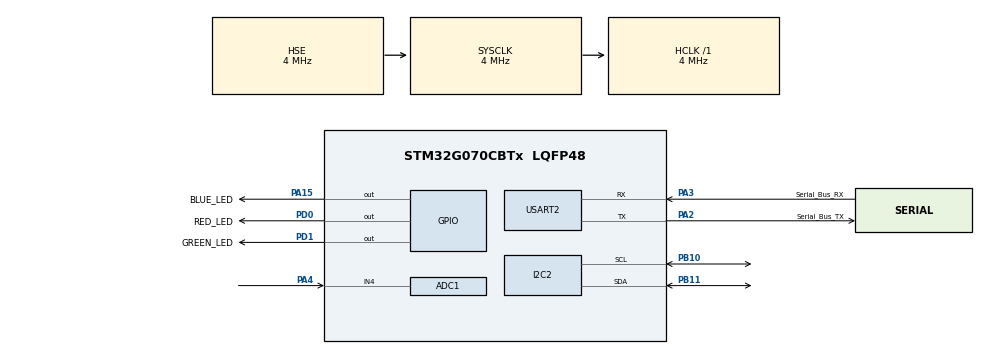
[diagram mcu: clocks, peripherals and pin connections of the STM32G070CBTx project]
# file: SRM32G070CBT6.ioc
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ADC1.Channel-1\#ChannelRegularConversion=ADC_CHANNEL_4
ADC1.ClockPrescaler=ADC_CLOCK_ASYNC_DIV2
ADC1.NbrOfConversionFlag=1
ADC1.Rank-1\#ChannelRegularConversion=1
ADC1.SamplingTime-1\#ChannelRegularConversion=ADC_SAMPLINGTIME_COMMON_1
ADC1.SamplingTimeCommon1=ADC_SAMPLETIME_39CYCLES_5
ADC1.SamplingTimeCommon2=ADC_SAMPLETIME_39CYCLES_5
ADC1.SelectedChannel=ADC_CHANNEL_4
ADC1.master=1
I2C2.Timing=0x00100D14
Mcu.Family=STM32G0
Mcu.Name=STM32G070CBTx
Mcu.Package=LQFP48
NVIC.ADC1_IRQn=true\:0\:0\:false\:false\:true\:true\:true\:true
NVIC.TIM1_BRK_UP_TRG_COM_IRQn=true\:0\:0\:false\:false\:true\:true\:true\:true
NVIC.TIM1_CC_IRQn=true\:0\:0\:false\:false\:true\:true\:true\:true
NVIC.USART2_IRQn=true\:0\:0\:false\:false\:true\:true\:true\:true
PA13.Mode=Serial_Wire
PA13.Signal=SYS_SWDIO
PA14-BOOT0.Mode=Serial_Wire
PA14-BOOT0.Signal=SYS_SWCLK
PA15.GPIO_Label=BLUE_LED
PA15.Signal=GPIO_Output
PA2.GPIO_Label=Serial_Bus_TX
PA2.Mode=Asynchronous
PA2.Signal=USART2_TX
PA3.GPIO_Label=Serial_Bus_RX
PA3.Mode=Asynchronous
PA3.Signal=USART2_RX
PA4.Mode=IN4
PA4.Signal=ADC1_IN4
PB10.Mode=I2C
PB10.Signal=I2C2_SCL
PB11.Mode=I2C
PB11.Signal=I2C2_SDA
PD0.GPIO_Label=RED_LED
PD0.Signal=GPIO_Output
PD1.GPIO_Label=GREEN_LED
PD1.Signal=GPIO_Output
PF0-OSC_IN\ (PF0).Mode=HSE-External-Oscillator
PF0-OSC_IN\ (PF0).Signal=RCC_OSC_IN
PF1-OSC_OUT\ (PF1).Mode=HSE-External-Oscillator
PF1-OSC_OUT\ (PF1).Signal=RCC_OSC_OUT
ProjectManager.HeapSize=0x200
ProjectManager.StackSize=0x400
ProjectManager.TargetToolchain=MDK-ARM V5.32
RCC.ADCFreq_Value=4000000
RCC.AHBFreq_Value=4000000
RCC.CortexFreq_Value=4000000
RCC.EXTERNAL_CLOCK_VALUE=48000
RCC.HCLKFreq_Value=4000000
RCC.HSE_VALUE=4000000
RCC.HSI_VALUE=16000000
RCC.LSE_VALUE=32768
RCC.PLLN=24
RCC.PLLR=RCC_PLLR_DIV5
RCC.PLLSourceVirtual=RCC_PLLSOURCE_HSE
RCC.SYSCLKFreq_VALUE=4000000
RCC.SYSCLKSource=RCC_SYSCLKSOURCE_HSE
RCC.VCOOutputFreq_Value=96000000
TIM1.AutoReloadPreload=TIM_AUTORELOAD_PRELOAD_ENABLE
TIM1.Period=399
TIM1.Prescaler=0
USART2.VirtualMode-Asynchronous=VM_ASYNC
VP_TIM1_VS_ClockSourceINT.Mode=Internal
board=custom

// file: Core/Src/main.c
/* USER CODE BEGIN Header */
/* USER CODE END Header */
#include "main.h"

/* USER CODE BEGIN PTD */
/**
 * @brief وضعیت‌های مختلف سطح ولتاژ تغذیه
 */
typedef enum {
    POWER_STATE_CRITICAL = 0,
    POWER_STATE_LOW,
    POWER_STATE_MEDIUM,
    POWER_STATE_FULL
} PowerState_t;
/* USER CODE END PTD */

ADC_HandleTypeDef hadc1;

I2C_HandleTypeDef hi2c2;

TIM_HandleTypeDef htim1;

UART_HandleTypeDef huart2;

/* USER CODE BEGIN PV */
/*
 * متغیرهای عمومی کنترل روشنایی LEDها (Software PWM):
 * - کلمه کلیدی volatile به کامپایلر اعلام می‌کند این متغیرها ممکن است درون روتین وقفه (ISR)
 *   تغییر کنند تا کامپایلر مقدار آن‌ها را کش نکند و بهینه‌سازی اشتباه انجام ندهد.
 */

/* درصد روشنایی فعال فعلی در مقیاس ۰ تا ۲۵۵ که توسط وقفه خوانده می‌شود */
volatile uint8_t g_pwm_duty = 0;

/* پرچم فعال‌سازی مود بحرانی:
 * مقدار 1: وارد وضعیت ولتاژ بحرانی شدیم و وقفه تایمر ۱ باید ال‌ای‌دی‌ها را با PWM کم‌نور و پرنور کند.
 * مقدار 0: وضعیت ولتاژ عادی است و وقفه تایمر ۱ در کار ال‌ای‌دی‌ها دخالتی نمی‌کند.
 */
volatile uint8_t g_critical_mode = 0;

/*
 * جدول تصحیح گامای چشم انسان (CIE 1931 Lightness Curve):
 * چشم انسان روشنایی را خطی نمی‌بیند (در تاریکی تغییرات کوچک نور را خیلی بزرگ می‌بیند).
 * اگر درصد نور را به صورت عادی زیاد کنیم ال‌ای‌دی چشمک می‌زند.
 * این آرایه ۶۴ تایی دارای اعداد مهندسی‌شده است تا تغییر روشنایی کاملاً نرم، سینمایی و بدون پرپر زدن به نظر برسد.
 */
static const uint8_t BREATH_TABLE[64] = {
    0,   0,   1,   1,   2,   2,   3,   3,   4,   5,   5,   6,   7,   8,   9,  10,
   12,  13,  14,  16,  18,  20,  22,  24,  26,  28,  31,  33,  36,  39,  42,  45,
   49,  52,  56,  60,  64,  68,  73,  77,  82,  87,  92,  98, 103, 109, 115, 122,
  128, 135, 142, 149, 156, 164, 172, 180, 189, 197, 206, 215, 225, 235, 245, 255
};
/* USER CODE END PV */

void SystemClock_Config(void);
static void MX_GPIO_Init(void);
static void MX_ADC1_Init(void);
static void MX_USART2_UART_Init(void);
static void MX_TIM1_Init(void);
static void MX_I2C2_Init(void);
/* USER CODE BEGIN PFP */
float Get_Power_Voltage(void);
void Update_Power_LEDs(float voltage);
/* USER CODE END PFP */

int main(void)
{

  /* MCU Configuration--------------------------------------------------------*/

  /* Reset of all peripherals, Initializes the Flash interface and the Systick. */
  HAL_Init();

  /* Configure the system clock */
  SystemClock_Config();

  /* Initialize all configured peripherals */
  MX_GPIO_Init();
  MX_ADC1_Init();
  MX_USART2_UART_Init();
  MX_TIM1_Init();
  MX_I2C2_Init();
  /* USER CODE BEGIN 2 */
  /*
   * ۱. کالیبراسیون خودکار واحد ADC1 قبل از شروع اندازه‌گیری:
   * این تابع خطای آفست داخلی خازن‌های آنالوگ به دیجیتال میکروکنترلر را در لحظه استارت صفر می‌کند.
   */
  HAL_ADCEx_Calibration_Start(&hadc1);

  /*
   * ۲. راه‌اندازی تایمر ۱ در حالت وقفه دوره‌ای (Interrupt Mode):
   * این تابع تایمر ۱ را روشن کرده و اجازه می‌دهد هر ۱۰۰ میکروثانیه تابع HAL_TIM_PeriodElapsedCallback صدا زده شود.
   */
  HAL_TIM_Base_Start_IT(&htim1);
  /* USER CODE END 2 */

  /* Infinite loop */
  while (1)
  {

    /* USER CODE BEGIN 3 */
    /*
     * گام ۱: خواندن ولتاژ خط ورودی اصلی مدار (به کمک ADC1، میانگین ۱۶ تایی و فیلتر نرم‌افزاری EMA)
     */
    float voltage = Get_Power_Voltage();

    /*
     * گام ۲: به روزرسانی وضعیت چراغ‌های نشانگر بر اساس ولتاژ خوانده‌شده و حاشیه امن هیسترسیز
     */
    Update_Power_LEDs(voltage);

    /*
     * گام ۳: ایجاد فاصله ۵۰ میلی‌ثانیه‌ای میان هر پایش:
     * نرخ تکرار حلقه برابر ۲۰ بار در ثانیه (20Hz) تنظیم می‌شود که مانع از مصرف بیهوده توان پردازنده می‌گردد.
     */
    HAL_Delay(50);
  }
  /* USER CODE END 3 */
}

void SystemClock_Config(void)
{
  RCC_OscInitTypeDef RCC_OscInitStruct = {0};
  RCC_ClkInitTypeDef RCC_ClkInitStruct = {0};

  /** Configure the main internal regulator output voltage
  */
  HAL_PWREx_ControlVoltageScaling(PWR_REGULATOR_VOLTAGE_SCALE1);

  /** Initializes the RCC Oscillators according to the specified parameters
  * in the RCC_OscInitTypeDef structure.
  */
  RCC_OscInitStruct.OscillatorType = RCC_OSCILLATORTYPE_HSE;
  RCC_OscInitStruct.HSEState = RCC_HSE_ON;
  RCC_OscInitStruct.PLL.PLLState = RCC_PLL_NONE;
  if (HAL_RCC_OscConfig(&RCC_OscInitStruct) != HAL_OK)
  {
    Error_Handler();
  }

  /** Initializes the CPU, AHB and APB buses clocks
  */
  RCC_ClkInitStruct.ClockType = RCC_CLOCKTYPE_HCLK|RCC_CLOCKTYPE_SYSCLK
                              |RCC_CLOCKTYPE_PCLK1;
  RCC_ClkInitStruct.SYSCLKSource = RCC_SYSCLKSOURCE_HSE;
  RCC_ClkInitStruct.AHBCLKDivider = RCC_SYSCLK_DIV1;
  RCC_ClkInitStruct.APB1CLKDivider = RCC_HCLK_DIV1;

  if (HAL_RCC_ClockConfig(&RCC_ClkInitStruct, FLASH_LATENCY_0) != HAL_OK)
  {
    Error_Handler();
  }
}

static void MX_ADC1_Init(void)
{

  ADC_ChannelConfTypeDef sConfig = {0};

  /** Configure the global features of the ADC (Clock, Resolution, Data Alignment and number of conversion)
  */
  hadc1.Instance = ADC1;
  hadc1.Init.ClockPrescaler = ADC_CLOCK_ASYNC_DIV2;
  hadc1.Init.Resolution = ADC_RESOLUTION_12B;
  hadc1.Init.DataAlign = ADC_DATAALIGN_RIGHT;
  hadc1.Init.ScanConvMode = ADC_SCAN_DISABLE;
  hadc1.Init.EOCSelection = ADC_EOC_SINGLE_CONV;
  hadc1.Init.LowPowerAutoWait = DISABLE;
  hadc1.Init.LowPowerAutoPowerOff = DISABLE;
  hadc1.Init.ContinuousConvMode = DISABLE;
  hadc1.Init.NbrOfConversion = 1;
  hadc1.Init.DiscontinuousConvMode = DISABLE;
  hadc1.Init.ExternalTrigConv = ADC_SOFTWARE_START;
  hadc1.Init.ExternalTrigConvEdge = ADC_EXTERNALTRIGCONVEDGE_NONE;
  hadc1.Init.DMAContinuousRequests = DISABLE;
  hadc1.Init.Overrun = ADC_OVR_DATA_PRESERVED;
  hadc1.Init.SamplingTimeCommon1 = ADC_SAMPLETIME_39CYCLES_5;
  hadc1.Init.SamplingTimeCommon2 = ADC_SAMPLETIME_39CYCLES_5;
  hadc1.Init.OversamplingMode = DISABLE;
  hadc1.Init.TriggerFrequencyMode = ADC_TRIGGER_FREQ_HIGH;
  if (HAL_ADC_Init(&hadc1) != HAL_OK)
  {
    Error_Handler();
  }

  /** Configure Regular Channel
  */
  sConfig.Channel = ADC_CHANNEL_4;
  sConfig.Rank = ADC_REGULAR_RANK_1;
  sConfig.SamplingTime = ADC_SAMPLINGTIME_COMMON_1;
  if (HAL_ADC_ConfigChannel(&hadc1, &sConfig) != HAL_OK)
  {
    Error_Handler();
  }

}

static void MX_I2C2_Init(void)
{

  hi2c2.Instance = I2C2;
  hi2c2.Init.Timing = 0x00100D14;
  hi2c2.Init.OwnAddress1 = 0;
  hi2c2.Init.AddressingMode = I2C_ADDRESSINGMODE_7BIT;
  hi2c2.Init.DualAddressMode = I2C_DUALADDRESS_DISABLE;
  hi2c2.Init.OwnAddress2 = 0;
  hi2c2.Init.OwnAddress2Masks = I2C_OA2_NOMASK;
  hi2c2.Init.GeneralCallMode = I2C_GENERALCALL_DISABLE;
  hi2c2.Init.NoStretchMode = I2C_NOSTRETCH_DISABLE;
  if (HAL_I2C_Init(&hi2c2) != HAL_OK)
  {
    Error_Handler();
  }

  /** Configure Analogue filter
  */
  if (HAL_I2CEx_ConfigAnalogFilter(&hi2c2, I2C_ANALOGFILTER_ENABLE) != HAL_OK)
  {
    Error_Handler();
  }

  /** Configure Digital filter
  */
  if (HAL_I2CEx_ConfigDigitalFilter(&hi2c2, 0) != HAL_OK)
  {
    Error_Handler();
  }

}

static void MX_TIM1_Init(void)
{

  TIM_ClockConfigTypeDef sClockSourceConfig = {0};
  TIM_MasterConfigTypeDef sMasterConfig = {0};

  htim1.Instance = TIM1;
  htim1.Init.Prescaler = 0;
  htim1.Init.CounterMode = TIM_COUNTERMODE_UP;
  htim1.Init.Period = 399;
  htim1.Init.ClockDivision = TIM_CLOCKDIVISION_DIV1;
  htim1.Init.RepetitionCounter = 0;
  htim1.Init.AutoReloadPreload = TIM_AUTORELOAD_PRELOAD_ENABLE;
  if (HAL_TIM_Base_Init(&htim1) != HAL_OK)
  {
    Error_Handler();
  }
  sClockSourceConfig.ClockSource = TIM_CLOCKSOURCE_INTERNAL;
  if (HAL_TIM_ConfigClockSource(&htim1, &sClockSourceConfig) != HAL_OK)
  {
    Error_Handler();
  }
  sMasterConfig.MasterOutputTrigger = TIM_TRGO_RESET;
  sMasterConfig.MasterOutputTrigger2 = TIM_TRGO2_RESET;
  sMasterConfig.MasterSlaveMode = TIM_MASTERSLAVEMODE_DISABLE;
  if (HAL_TIMEx_MasterConfigSynchronization(&htim1, &sMasterConfig) != HAL_OK)
  {
    Error_Handler();
  }

}

static void MX_USART2_UART_Init(void)
{

  huart2.Instance = USART2;
  huart2.Init.BaudRate = 115200;
  huart2.Init.WordLength = UART_WORDLENGTH_8B;
  huart2.Init.StopBits = UART_STOPBITS_1;
  huart2.Init.Parity = UART_PARITY_NONE;
  huart2.Init.Mode = UART_MODE_TX_RX;
  huart2.Init.HwFlowCtl = UART_HWCONTROL_NONE;
  huart2.Init.OverSampling = UART_OVERSAMPLING_16;
  huart2.Init.OneBitSampling = UART_ONE_BIT_SAMPLE_DISABLE;
  huart2.Init.ClockPrescaler = UART_PRESCALER_DIV1;
  huart2.AdvancedInit.AdvFeatureInit = UART_ADVFEATURE_NO_INIT;
  if (HAL_UART_Init(&huart2) != HAL_OK)
  {
    Error_Handler();
  }
  if (HAL_UARTEx_SetTxFifoThreshold(&huart2, UART_TXFIFO_THRESHOLD_1_8) != HAL_OK)
  {
    Error_Handler();
  }
  if (HAL_UARTEx_SetRxFifoThreshold(&huart2, UART_RXFIFO_THRESHOLD_1_8) != HAL_OK)
  {
    Error_Handler();
  }
  if (HAL_UARTEx_DisableFifoMode(&huart2) != HAL_OK)
  {
    Error_Handler();
  }

}

static void MX_GPIO_Init(void)
{
  GPIO_InitTypeDef GPIO_InitStruct = {0};

  /* GPIO Ports Clock Enable */
  __HAL_RCC_GPIOF_CLK_ENABLE();
  __HAL_RCC_GPIOA_CLK_ENABLE();
  __HAL_RCC_GPIOB_CLK_ENABLE();
  __HAL_RCC_GPIOD_CLK_ENABLE();

  /*Configure GPIO pin Output Level */
  HAL_GPIO_WritePin(BLUE_LED_GPIO_Port, BLUE_LED_Pin, GPIO_PIN_RESET);

  /*Configure GPIO pin Output Level */
  HAL_GPIO_WritePin(GPIOD, GPIO_PIN_0|GREEN_LED_Pin, GPIO_PIN_RESET);

  /*Configure GPIO pin : BLUE_LED_Pin */
  GPIO_InitStruct.Pin = BLUE_LED_Pin;
  GPIO_InitStruct.Mode = GPIO_MODE_OUTPUT_PP;
  GPIO_InitStruct.Pull = GPIO_NOPULL;
  GPIO_InitStruct.Speed = GPIO_SPEED_FREQ_LOW;
  HAL_GPIO_Init(BLUE_LED_GPIO_Port, &GPIO_InitStruct);

  /*Configure GPIO pins : PD0 GREEN_LED_Pin */
  GPIO_InitStruct.Pin = GPIO_PIN_0|GREEN_LED_Pin;
  GPIO_InitStruct.Mode = GPIO_MODE_OUTPUT_PP;
  GPIO_InitStruct.Pull = GPIO_NOPULL;
  GPIO_InitStruct.Speed = GPIO_SPEED_FREQ_LOW;
  HAL_GPIO_Init(GPIOD, &GPIO_InitStruct);

}

/* USER CODE BEGIN 4 */

/**
 * @brief  تابع پاسخگویی به وقفه سرریز تایمر ۱ (تولید Software PWM با سرعت بسیار بالا)
 *
 * @note   این تابع در سخت‌افزار با فرکانس ۱۰ کیلوهرتز (دقیقاً هر ۱۰۰ میکروثانیه یک‌بار)
 *         بدون معطل کردن حلقه اصلی برنامه (while) به صورت خودکار فراخوانی می‌شود.
 *
 * @param  htim اشاره‌گر به ساختار مدیریت تایمر فعال‌شده
 * @retval ندارد
 */
void HAL_TIM_PeriodElapsedCallback(TIM_HandleTypeDef *htim)
{
  /* بررسی این‌که آیا این وقفه متعلق به تایمر ۱ است یا خیر */
  if (htim->Instance == TIM1)
  {
    /* فقط در صورتی که ولتاژ مدار به زیر ۱۰.۸ ولت افت کرده باشد وارد کنترل PWM می‌شویم */
    if (g_critical_mode)
    {
      /*
       * شمارنده پله‌های PWM از ۰ تا ۲۵۵:
       * متغیر استاتیک مقدار قبلی خود را در هر بار خروج از تابع حفظ می‌کند.
       * با توجه به اندازه ۸ بیتی (uint8_t)، این متغیر بعد از ۲۵۵ به طور خودکار دوباره صفر می‌شود.
       */
      static uint8_t pwm_cnt = 0;
      pwm_cnt++;

      /*
       * مقایسه زمان روشن بودن (Duty Cycle):
       * اگر شمارنده کمتر از مقدار روشنایی درخواستی باشد، پین‌ها روشن می‌شوند.
       * اگر شمارنده بیشتر شود، پین‌ها تا پایان این دوره خاموش می‌مانند.
       */
      if (pwm_cnt < g_pwm_duty)
      {
        /*
         * پالس در سطح بالا (روشن کردن چراغ‌ها):
         * به جای استفاده از تابع کند HAL_GPIO_WritePin، مستقیماً از رجیسترهای سخت‌افزاری BSRR استفاده می‌کنیم.
         * رجیستر BSRR (Bit Set/Reset Register) پین‌ها را در ۱ سیکل کلاک (چند نانوثانیه) روشن می‌کند.
         * - پایه PA15: ال‌ای‌دی آبی
         * - پایه‌های PD0 و PD1: ال‌ای‌دی‌های قرمز و سبز به صورت همزمان با عملگر OR (|)
         */
        GPIOA->BSRR = BLUE_LED_Pin;
        GPIOD->BSRR = (RED_LED_Pin | GREEN_LED_Pin);
      }
      else
      {
        /*
         * پالس در سطح پایین (خاموش کردن چراغ‌ها):
         * رجیستر سخت‌افزاری BRR (Bit Reset Register) پین‌ها را به طور آنی صفر (GND) می‌کند.
         */
        GPIOA->BRR = BLUE_LED_Pin;
        GPIOD->BRR = (RED_LED_Pin | GREEN_LED_Pin);
      }
    }
  }
}

/**
 * @brief  نمونه‌برداری، تبدیل واحد و فیلتر دیجیتال ولتاژ تغذیه اصلی مدار
 *
 * @details روند کار این تابع:
 *          ۱. ۱۶ نمونه متوالی از ورودی آنالوگ کانال ۴ (پایه PA4) قرائت می‌کند.
 *          ۲. مقدار عددی دیجیتال (۰ تا ۴۰۹۵) را به ولتاژ واقعی پایه میکرو (۰ تا ۳.۳ ولت) تبدیل می‌نماید.
 *          ۳. با ضرب در ضریب ۱۱.۷ مقسم ولتاژ مقاومتی مدار، ولتاژ قبل از مقسم را محاسبه می‌کند.
 *          ۴. از فیلتر پایین‌گذر دیجیتال بازگشتی نمایی (EMA) استفاده می‌کند تا نویز و نوسانات لحظه‌ای حذف شوند.
 *
 * @param  ندارد
 * @return float مقدار نهایی و تصفیه‌شده ولتاژ منبع تغذیه به ولت (V)
 */
float Get_Power_Voltage(void)
{
  const uint8_t NUM_SAMPLES = 16;  /* تعداد دفعات نمونه‌برداری جهت میانگین‌گیری دیجیتال */
  uint32_t adc_accum = 0;          /* متغیر تجمیع مقادیر برای جمع زدن ۱۶ نمونه */
  static float filtered_voltage = 0.0f; /* مقدار ذخیره‌شده ولتاژ فیلترشده در طول اجرای برنامه */
  static uint8_t is_initialized = 0;    /* پرچم نشان‌دهنده نمونه‌برداری اولیه در لحظه روشن شدن برد */

  /* حلقه خواندن ۱۶ نمونه پی‌درپی */
  for (uint8_t i = 0; i < NUM_SAMPLES; i++)
  {
    /* صدور دستور سخت‌افزاری شروع تبدیل آنالوگ به دیجیتال */
    HAL_ADC_Start(&hadc1);

    /* صبر به مدت حداکثر ۵ میلی‌ثانیه تا اتمام تبدیل واحد ADC */
    if (HAL_ADC_PollForConversion(&hadc1, 5) == HAL_OK)
    {
      /* خواندن عدد دیجیتال ۱۲ بیتی (بازه ۰ تا ۴۰۹۵) و اضافه کردن به مجموع */
      adc_accum += HAL_ADC_GetValue(&hadc1);
    }
  }

  /* اتمام تبدیل و متوقف کردن واحد ADC جهت کاهش مصرف توان الکتریکی */
  HAL_ADC_Stop(&hadc1);

  /* محاسبه میانگین حسابی ۱۶ نمونه برداشته‌شده */
  float avg_raw = (float)adc_accum / (float)NUM_SAMPLES;

  /*
   * تبدیل عدد دیجیتال به ولتاژ پایه پین میکروکنترلر:
   * فرمول: V_pin = (ADC_Value * 3.3V) / 4095
   * ولتاژ مرجع (Vref) برابر ۳.۳ ولت و رزولوشن ADC برابر ۱۲ بیت (2^12 - 1 = 4095) است.
   */
  float pin_voltage = (avg_raw * 3.3f) / 4095.0f;

  /*
   * محاسبه ولتاژ خط ورودی اصلی قبل از مقسم مقاومتی مدار:
   * در شماتیک مدار، ولتاژ ورودی با دو مقاومت تقسیم شده تا به بازه امن میکرو (زیر ۳.۳ ولت) برسد.
   * ضریب معکوس این مقسم ولتاژ برابر ۱۱.۷ است.
   */
  float instant_voltage = pin_voltage * 11.7f;

  /*
   * فیلتر دیجیتال نمایی (Exponential Moving Average):
   * فرمول: V_filtered = (0.15 * V_instant) + (0.85 * V_filtered_prev)
   * هدف: جلوگیری از پرش‌های تصادفی ولتاژ بر اثر نویز برق و بار لحظه‌ای مدار
   */
  if (!is_initialized)
  {
    /* در اولین بار پس از روشن شدن میکرو، ولتاژ لحظه‌ای را مستقیماً ثبت می‌کنیم تا تاخیر نداشته باشد */
    filtered_voltage = instant_voltage;
    is_initialized = 1;
  }
  else
  {
    /* در دفعات بعدی، ۸۵ درصد از داده باثبات قبلی و ۱۵ درصد از داده جدید ترکیب می‌شود */
    filtered_voltage = (0.15f * instant_voltage) + (0.85f * filtered_voltage);
  }

  return filtered_voltage;
}

/**
 * @brief  کنترل وضعیت نشانگرهای LED بر اساس سطح ولتاژ تغذیه با حاشیه امن هیسترسیز و افکت تنفس
 *
 * @details منطق رفتاری ال‌ای‌دی‌ها در مدار:
 *          ۱. حالت Full (ولتاژ بالای ۱۵V): هر سه ال‌ای‌دی آبی، قرمز و سبز کاملاً روشن هستند.
 *          ۲. حالت Medium (ولتاژ بین ۱۳V تا ۱۵V): آبی و قرمز روشن، سبز خاموش است.
 *          ۳. حالت Low (ولتاژ بین ۱۱V تا ۱۳V): فقط آبی روشن، بقیه خاموش هستند.
 *          ۴. حالت Critical (ولتاژ زیر ۱۱V): هر سه ال‌ای‌دی با تکنیک PWM افکت تنفس نرم می‌گیرند.
 *
 * @param  voltage مقدار ولتاژ پالایش‌شده منبع تغذیه (بر حسب ولت)
 * @retval ندارد
 */
void Update_Power_LEDs(float voltage)
{
  /* متغیر استاتیک برای نگهداری وضعیت فعلی مدار حتی پس از خروج از تابع */
  static PowerState_t state = POWER_STATE_FULL;

  /*
   * ---------------------------------------------------------------------------------
   * گام اول: تصمیم‌گیری درباره وضعیت باتری با در نظر گرفتن منطق هیسترسیز (Hysteresis)
   * دلیل استفاده از هیسترسیز:
   * برای جلوگیری از پرپر زدن ال‌ای‌دی‌ها وقتی ولتاژ دقیقاً روی مرز (مثلاً ۱۵.۰ ولت) است.
   * مرز ورود به هر حالت با مرز خروج از آن ۰.۲ ولت فاصله دارد.
   * ---------------------------------------------------------------------------------
   */
  if (state == POWER_STATE_FULL)
  {
    /* فقط اگر ولتاژ از ۱۴.۸ ولت کمتر شد، از حالت پر به حالت متوسط سقوط می‌کنیم */
    if (voltage < 14.8f)
    {
      state = POWER_STATE_MEDIUM;
    }
  }
  else if (state == POWER_STATE_MEDIUM)
  {
    /* اگر ولتاژ با شارژ شدن مجدد به بالای ۱۵.۰ ولت رسید، به حالت پر برمی‌گردیم */
    if (voltage >= 15.0f)
    {
      state = POWER_STATE_FULL;
    }
    /* اگر افت ولتاژ ادامه داشت و از ۱۲.۸ ولت کمتر شد، به حالت ضعیف می‌رویم */
    else if (voltage < 12.8f)
    {
      state = POWER_STATE_LOW;
    }
  }
  else if (state == POWER_STATE_LOW)
  {
    /* اگر ولتاژ به ۱۳.۰ ولت افزایش یافت، به حالت متوسط برمی‌گردیم */
    if (voltage >= 13.0f)
    {
      state = POWER_STATE_MEDIUM;
    }
    /* اگر افت ولتاژ شدید شد و به زیر ۱۰.۸ ولت رسید، به وضعیت بحرانی می‌رویم */
    else if (voltage < 10.8f)
    {
      state = POWER_STATE_CRITICAL;
    }
  }
  else if (state == POWER_STATE_CRITICAL)
  {
    /* خروج از حالت بحرانی فقط در صورتی رخ می‌دهد که ولتاژ منبع تغذیه به بالای ۱۱.۰ ولت بازگردد */
    if (voltage >= 11.0f)
    {
      state = POWER_STATE_LOW;
    }
  }

  /*
   * ---------------------------------------------------------------------------------
   * گام دوم: اعمال خروجی‌های سخت‌افزاری بر روی پایه‌های ال‌ای‌دی‌ها
   * ---------------------------------------------------------------------------------
   */
  if (state == POWER_STATE_FULL)
  {
    /* غیرفعال کردن مد تنفس تایمر ۱ */
    g_critical_mode = 0;

    /* روشن کردن همزمان هر ۳ چراغ (آبی GPS، قرمز System، سبز GSM) */
    HAL_GPIO_WritePin(BLUE_LED_GPIO_Port, BLUE_LED_Pin, GPIO_PIN_SET);
    HAL_GPIO_WritePin(RED_LED_GPIO_Port, RED_LED_Pin, GPIO_PIN_SET);
    HAL_GPIO_WritePin(GREEN_LED_GPIO_Port, GREEN_LED_Pin, GPIO_PIN_SET);
  }
  else if (state == POWER_STATE_MEDIUM)
  {
    /* غیرفعال کردن مد تنفس تایمر ۱ */
    g_critical_mode = 0;

    /* روشن ماندن آبی و قرمز / خاموش شدن سبز */
    HAL_GPIO_WritePin(BLUE_LED_GPIO_Port, BLUE_LED_Pin, GPIO_PIN_SET);
    HAL_GPIO_WritePin(RED_LED_GPIO_Port, RED_LED_Pin, GPIO_PIN_SET);
    HAL_GPIO_WritePin(GREEN_LED_GPIO_Port, GREEN_LED_Pin, GPIO_PIN_RESET);
  }
  else if (state == POWER_STATE_LOW)
  {
    /* غیرفعال کردن مد تنفس تایمر ۱ */
    g_critical_mode = 0;

    /* تنها چراغ آبی روشن می‌ماند / قرمز و سبز خاموش می‌شوند */
    HAL_GPIO_WritePin(BLUE_LED_GPIO_Port, BLUE_LED_Pin, GPIO_PIN_SET);
    HAL_GPIO_WritePin(RED_LED_GPIO_Port, RED_LED_Pin, GPIO_PIN_RESET);
    HAL_GPIO_WritePin(GREEN_LED_GPIO_Port, GREEN_LED_Pin, GPIO_PIN_RESET);
  }
  else if (state == POWER_STATE_CRITICAL)
  {
    /*
     * فعال‌سازی مد PWM نرم‌افزاری در وقفه تایمر ۱:
     * متغیر پرچم برابر ۱ می‌شود تا تابع وقفه تایمر ۱ شروع به سوئیچینگ سریع پایه‌ها کند.
     */
    g_critical_mode = 1;

    /*
     * پایش زمان برای تغییر تدریجی و پله‌ای نور (افکت تنفس یا Breathing):
     * هر ۲۵ میلی‌ثانیه یک‌بار، یک گام در جدول تصحیح گاما جلو یا عقب می‌رویم.
     */
    static uint32_t last_step_time = 0; /* آخرین زمان تغییر گام بر حسب میلی‌ثانیه */
    static uint8_t step_index = 0;      /* اندیس گام فعلی از ۰ تا ۶۳ در جدول گاما */
    static int8_t step_dir = 1;         /* جهت حرکت نور: +1 در حال پرنور شدن / -1 در حال کم‌نور شدن */

    /* بررسی این‌که آیا ۲۵ میلی‌ثانیه از گام قبلی گذشته است یا خیر (روش غیرمسدودکننده Non-blocking) */
    if ((HAL_GetTick() - last_step_time) >= 25)
    {
      /* ثبت زمان فعلی برای گام بعدی */
      last_step_time = HAL_GetTick();

      /* استخراج میزان روشنایی متناسب با منحنی چشم از جدول گاما */
      g_pwm_duty = BREATH_TABLE[step_index];

      /* اگر در حال افزایش نور هستیم */
      if (step_dir == 1)
      {
        if (step_index >= 63)
        {
          /* به ۱۰۰٪ روشنایی رسیدیم؛ اکنون جهت را برعکس می‌کنیم تا نور کم شود */
          step_dir = -1;
        }
        else
        {
          step_index++; /* یک پله افزایش نور */
        }
      }
      /* اگر در حال کاهش نور هستیم */
      else
      {
        if (step_index <= 0)
        {
          /* به خاموشی کامل رسیدیم؛ اکنون جهت را برعکس می‌کنیم تا نور مجدداً زیاد شود */
          step_dir = 1;
        }
        else
        {
          step_index--; /* یک پله کاهش نور */
        }
      }
    }
  }
}
/* USER CODE END 4 */

void Error_Handler(void)
{
}
